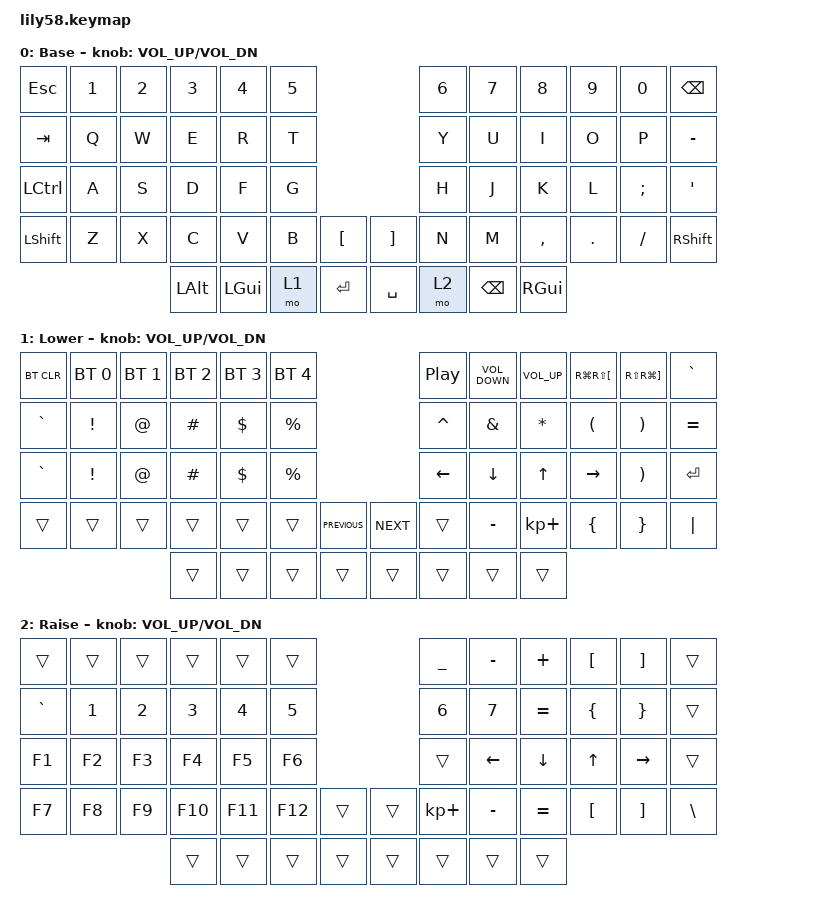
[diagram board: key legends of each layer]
/*
 * Copyright (c) 2020 The ZMK Contributors
 *
 * SPDX-License-Identifier: MIT
 */

#include <behaviors.dtsi>
#include <dt-bindings/zmk/bt.h>
#include <dt-bindings/zmk/keys.h>

/ {
    keymap {
        compatible = "zmk,keymap";

        default_layer {
            // ------------------------------------------------------------------------------------------------------------
            // |  ESC  |  1  |  2  |  3   |  4   |  5   |                   |  6   |  7    |  8    |  9   |   0   |   `   |
            // |  TAB  |  Q  |  W  |  E   |  R   |  T   |                   |  Y   |  U    |  I    |  O   |   P   |   -   |
            // |  CTRL |  A  |  S  |  D   |  F   |  G   |                   |  H   |  J    |  K    |  L   |   ;   |   '   |
            // | SHIFT |  Z  |  X  |  C   |  V   |  B   |   "["  |  |  "]"  |  N   |  M    |  ,    |  .   |   /   | SHIFT |
            //                     | ALT  | GUI  | LOWER|  SPACE |  | ENTER | RAISE| BSPC  | GUI   |

            display-name = "Base";
            bindings = <
&kp ESC    &kp N1  &kp N2  &kp N3    &kp N4    &kp N5                          &kp N6  &kp N7    &kp N8     &kp N9   &kp N0    &kp BACKSPACE
&kp TAB    &kp Q   &kp W   &kp E     &kp R     &kp T                           &kp Y   &kp U     &kp I      &kp O    &kp P     &kp MINUS
&kp LCTRL  &kp A   &kp S   &kp D     &kp F     &kp G                           &kp H   &kp J     &kp K      &kp L    &kp SEMI  &kp SQT
&kp LSHFT  &kp Z   &kp X   &kp C     &kp V     &kp B   &kp LBKT     &kp RBKT   &kp N   &kp M     &kp COMMA  &kp DOT  &kp FSLH  &kp RSHFT
                           &kp LALT  &kp LGUI  &mo 1   &kp ENTER    &kp SPACE  &mo 2   &kp BSPC  &kp RGUI
            >;

            sensor-bindings = <&inc_dec_kp C_VOL_UP C_VOL_DN>;
        };

        lower_layer {
            // ------------------------------------------------------------------------------------------------------------
            // | BTCLR | BT1 | BT2 |  BT3 |  BT4 |  BT5 |                   |      |       |       |      |       |       |
            // |  F1   |  F2 |  F3 |  F4  |  F5  |  F6  |                   |  F7  |  F8   |  F9   |  F10 |  F11  |  F12  |
            // |   `   |  !  |  @  |  #   |  $   |  %   |                   |  ^   |  &    |  *    |  (   |   )   |   ~   |
            // |       |     |     |      |      |      |        |  |       |      |  _    |  +    |  {   |   }   |  "|"  |
            //                     |      |      |      |        |  |       |      |       |       |

            display-name = "Lower";
            bindings = <
&bt BT_CLR  &bt BT_SEL 0     &bt BT_SEL 1  &bt BT_SEL 2  &bt BT_SEL 3  &bt BT_SEL 4                                &kp C_PLAY_PAUSE  &kp C_VOLUME_DOWN  &kp C_VOLUME_UP  &kp RG(RS(LEFT_BRACKET))  &kp RS(RG(RIGHT_BRACKET))  &kp GRAVE
&kp GRAVE   &kp EXCLAMATION  &kp AT_SIGN   &kp HASH      &kp DOLLAR    &kp PERCENT                                 &kp CARET         &kp AMPERSAND      &kp ASTERISK     &kp LEFT_PARENTHESIS      &kp RIGHT_PARENTHESIS      &kp EQUAL
&kp GRAVE   &kp EXCL         &kp AT        &kp HASH      &kp DOLLAR    &kp PRCNT                                   &kp LEFT_ARROW    &kp DOWN           &kp UP_ARROW     &kp RIGHT                 &kp RPAR                   &kp ENTER
&trans      &trans           &trans        &trans        &trans        &trans        &kp C_PREVIOUS    &kp C_NEXT  &trans            &kp MINUS          &kp KP_PLUS      &kp LBRC                  &kp RBRC                   &kp PIPE
                                           &trans        &trans        &trans        &trans            &trans      &trans            &trans             &trans
            >;

            sensor-bindings = <&inc_dec_kp C_VOL_UP C_VOL_DN>;
        };

        raise_layer {
            // ------------------------------------------------------------------------------------------------------------
            // |       |     |     |      |      |      |                   |      |       |       |      |       |       |
            // |   `   |  1  |  2  |  3   |  4   |  5   |                   |  6   |   7   |   8   |  9   |   0   |       |
            // |   F1  |  F2 |  F3 |  F4  |  F5  |  F6  |                   |      |   <-  |   v   |  ^   |  ->   |       |
            // |   F7  |  F8 |  F9 |  F10 |  F11 |  F12 |        |  |       |  +   |   -   |   =   |  [   |   ]   |   \   |
            //                     |      |      |      |        |  |       |      |       |       |

            display-name = "Raise";
            bindings = <
&trans     &trans  &trans  &trans   &trans   &trans                     &kp UNDERSCORE  &kp MINUS  &kp PLUS   &kp LEFT_BRACKET  &kp RIGHT_BRACKET  &trans
&kp GRAVE  &kp N1  &kp N2  &kp N3   &kp N4   &kp N5                     &kp N6          &kp N7     &kp EQUAL  &kp LEFT_BRACE    &kp RIGHT_BRACE    &trans
&kp F1     &kp F2  &kp F3  &kp F4   &kp F5   &kp F6                     &trans          &kp LEFT   &kp DOWN   &kp UP            &kp RIGHT          &trans
&kp F7     &kp F8  &kp F9  &kp F10  &kp F11  &kp F12  &trans    &trans  &kp KP_PLUS     &kp MINUS  &kp EQUAL  &kp LBKT          &kp RBKT           &kp BSLH
                           &trans   &trans   &trans   &trans    &trans  &trans          &trans     &trans
            >;

            sensor-bindings = <&inc_dec_kp C_VOL_UP C_VOL_DN>;
        };
    };
};
